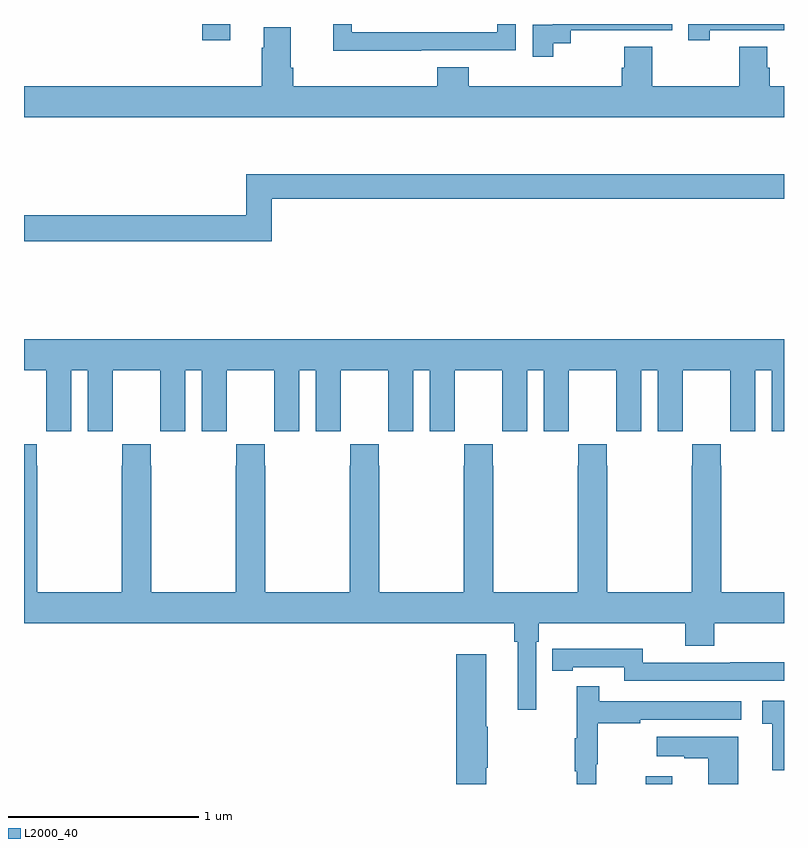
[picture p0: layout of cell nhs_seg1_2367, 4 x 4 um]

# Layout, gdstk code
import gdstk
lib = gdstk.Library(unit=1e-6, precision=1e-09)
def R(c, l, rs):  # rectangles x0, y0, x1, y1
    for r in rs: c.add(gdstk.rectangle(r[:2], r[2:], *l))
def P(c, l, *ps):  # polygons
    for p in ps: c.add(gdstk.Polygon(p, *l))
L2000_40 = (2000, 40)

nhs_seg1_2367 = lib.new_cell('nhs_seg1_2367')
R(nhs_seg1_2367, L2000_40, [(242.273,572.199,242.413,572.239), (239.937,576.114,240.085,576.199)])
P(nhs_seg1_2367, L2000_40, [(242.608,576.165),(243,576.165),(243,576.199),(242.497,576.199),(242.497,576.114),(242.608,576.114)],
  [(241.786,576.097),(241.878,576.097),(241.878,576.165),(242.412,576.165),(242.412,576.199),(241.782,576.199),(241.782,576.195),(241.677,576.195),(241.677,576.027),(241.786,576.027)],
  [(241.091,576.06),(241.587,576.06),(241.587,576.199),(241.491,576.199),(241.491,576.156),(240.726,576.156),(240.726,576.199),(240.628,576.199),(240.628,576.059),(241.091,576.059)],
  [(243,575.872),(242.924,575.872),(242.924,575.97),(242.911,575.97),(242.911,576.08),(242.764,576.08),(242.764,575.872),(242.307,575.872),(242.307,576.08),(242.159,576.08),(242.159,575.97),(242.147,575.97),(242.147,575.872),(241.34,575.872),(241.34,575.971),(241.175,575.971),(241.175,575.872),(240.416,575.872),(240.416,575.968),(240.403,575.968),(240.403,576.181),(240.263,576.181),(240.263,576.074),(240.251,576.074),(240.251,575.872),(239,575.872),(239,575.708),(243,575.708)],
  [(240.305,575.278),(243,575.278),(243,575.407),(240.169,575.407),(240.169,575.192),(239,575.192),(239,575.056),(240.305,575.056)],
  [(239.248,574.376),(239.336,574.376),(239.336,574.056),(239.466,574.056),(239.466,574.168),(239.467,574.168),(239.467,574.376),(239.717,574.376),(239.717,574.168),(239.718,574.168),(239.718,574.056),(239.848,574.056),(239.848,574.376),(239.936,574.376),(239.936,574.056),(240.066,574.056),(240.066,574.168),(240.067,574.168),(240.067,574.376),(240.317,574.376),(240.317,574.168),(240.318,574.168),(240.318,574.056),(240.448,574.056),(240.448,574.376),(240.536,574.376),(240.536,574.056),(240.666,574.056),(240.666,574.168),(240.667,574.168),(240.667,574.376),(240.917,574.376),(240.917,574.168),(240.918,574.168),(240.918,574.056),(241.048,574.056),(241.048,574.376),(241.136,574.376),(241.136,574.056),(241.266,574.056),(241.266,574.168),(241.267,574.168),(241.267,574.376),(241.517,574.376),(241.517,574.168),(241.518,574.168),(241.518,574.056),(241.648,574.056),(241.648,574.376),(241.736,574.376),(241.736,574.056),(241.866,574.056),(241.866,574.168),(241.867,574.168),(241.867,574.376),(242.117,574.376),(242.117,574.168),(242.118,574.168),(242.118,574.056),(242.248,574.056),(242.248,574.376),(242.336,574.376),(242.336,574.056),(242.466,574.056),(242.466,574.168),(242.467,574.168),(242.467,574.376),(242.717,574.376),(242.717,574.168),(242.718,574.168),(242.718,574.056),(242.848,574.056),(242.848,574.376),(242.936,574.376),(242.936,574.056),(243,574.056),(243,574.54),(239,574.54),(239,574.376),(239.117,574.376),(239.117,574.168),(239.118,574.168),(239.118,574.056),(239.248,574.056)],
  [(239,573.988),(239,573.044),(241.579,573.044),(241.579,572.948),(241.598,572.948),(241.598,572.589),(241.695,572.589),(241.695,572.948),(241.709,572.948),(241.709,573.044),(242.48,573.044),(242.48,572.927),(242.633,572.927),(242.633,573.044),(243,573.044),(243,573.208),(242.67,573.208),(242.67,573.875),(242.667,573.875),(242.667,573.988),(242.517,573.988),(242.517,573.875),(242.515,573.875),(242.515,573.208),(242.07,573.208),(242.07,573.875),(242.067,573.875),(242.067,573.988),(241.917,573.988),(241.917,573.875),(241.915,573.875),(241.915,573.208),(241.47,573.208),(241.47,573.875),(241.467,573.875),(241.467,573.988),(241.317,573.988),(241.317,573.875),(241.315,573.875),(241.315,573.208),(240.87,573.208),(240.87,573.875),(240.867,573.875),(240.867,573.988),(240.717,573.988),(240.717,573.875),(240.715,573.875),(240.715,573.208),(240.27,573.208),(240.27,573.875),(240.267,573.875),(240.267,573.988),(240.117,573.988),(240.117,573.875),(240.115,573.875),(240.115,573.208),(239.67,573.208),(239.67,573.875),(239.667,573.875),(239.667,573.988),(239.517,573.988),(239.517,573.875),(239.515,573.875),(239.515,573.208),(239.07,573.208),(239.07,573.875),(239.067,573.875),(239.067,573.988)],
  [(243,572.84),(242.716,572.84),(242.716,572.838),(242.256,572.838),(242.256,572.911),(241.888,572.911),(241.888,572.91),(241.78,572.91),(241.78,572.794),(241.888,572.794),(241.888,572.814),(242.16,572.814),(242.16,572.742),(243,572.742)],
  [(241.432,572.284),(241.44,572.284),(241.44,572.501),(241.432,572.501),(241.432,572.881),(241.274,572.881),(241.274,572.199),(241.432,572.199)],
  [(242.012,572.304),(242.02,572.304),(242.02,572.518),(242.243,572.518),(242.243,572.538),(242.776,572.538),(242.776,572.634),(242.027,572.634),(242.027,572.713),(241.91,572.713),(241.91,572.441),(241.899,572.441),(241.899,572.267),(241.91,572.267),(241.91,572.199),(242.012,572.199)],
  [(243,572.638),(242.886,572.638),(242.886,572.517),(242.939,572.517),(242.939,572.271),(243,572.271)],
  [(242.758,572.449),(242.331,572.449),(242.331,572.345),(242.474,572.345),(242.474,572.335),(242.6,572.335),(242.6,572.199),(242.758,572.199)])

lib.write_gds('nhs_seg1_2367.gds')
